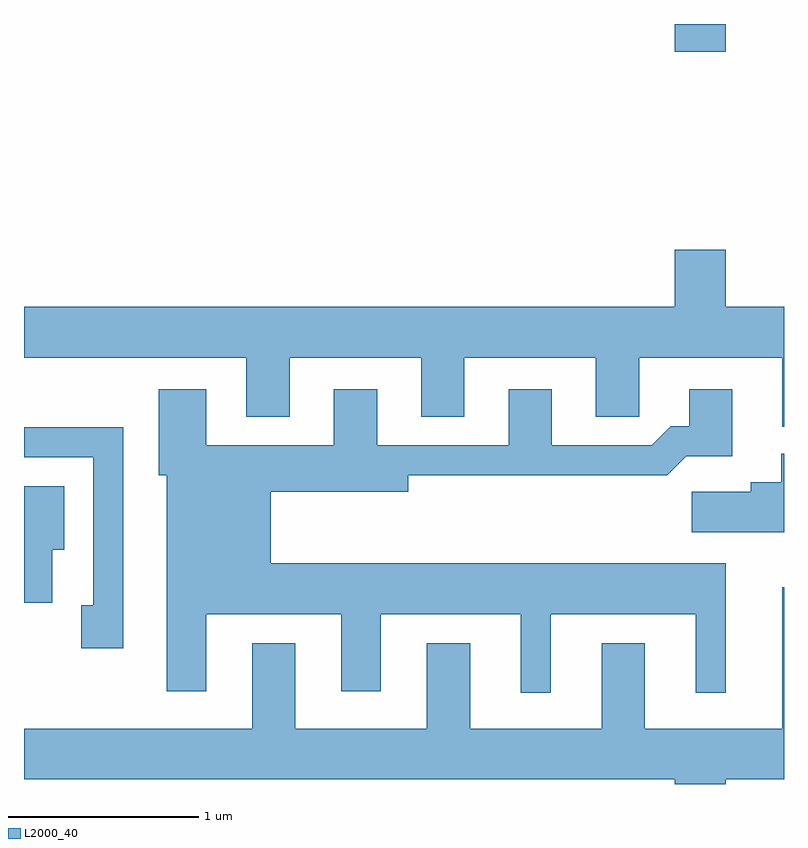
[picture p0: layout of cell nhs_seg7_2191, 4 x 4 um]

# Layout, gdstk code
import gdstk
lib = gdstk.Library(unit=1e-6, precision=1e-09)
def R(c, l, rs):  # rectangles x0, y0, x1, y1
    for r in rs: c.add(gdstk.rectangle(r[:2], r[2:], *l))
def P(c, l, *ps):  # polygons
    for p in ps: c.add(gdstk.Polygon(p, *l))
L2000_40 = (2000, 40)

nhs_seg7_2191 = lib.new_cell('nhs_seg7_2191')
R(nhs_seg7_2191, L2000_40, [(255.036,1758.106,255.304,1758.252)])
P(nhs_seg7_2191, L2000_40, [(255.611,1756.764),(255.304,1756.764),(255.304,1757.064),(255.036,1757.064),(255.036,1756.764),(251.611,1756.764),(251.611,1756.496),(252.781,1756.496),(252.781,1756.186),(253.009,1756.186),(253.009,1756.496),(253.701,1756.496),(253.701,1756.186),(253.929,1756.186),(253.929,1756.496),(254.621,1756.496),(254.621,1756.186),(254.849,1756.186),(254.849,1756.496),(255.601,1756.496),(255.601,1756.133),(255.611,1756.133)],
  [(254.384,1755.146),(255.146,1755.146),(255.146,1754.733),(255.304,1754.733),(255.304,1755.414),(252.909,1755.414),(252.909,1755.791),(253.634,1755.791),(253.634,1755.876),(254.997,1755.876),(255.097,1755.976),(255.339,1755.976),(255.339,1756.329),(255.111,1756.329),(255.111,1756.134),(255.014,1756.134),(254.914,1756.034),(254.389,1756.034),(254.389,1756.329),(254.161,1756.329),(254.161,1756.034),(253.469,1756.034),(253.469,1756.329),(253.241,1756.329),(253.241,1756.034),(252.569,1756.034),(252.569,1756.329),(252.321,1756.329),(252.321,1755.876),(252.361,1755.876),(252.361,1754.741),(252.569,1754.741),(252.569,1755.146),(253.281,1755.146),(253.281,1754.741),(253.489,1754.741),(253.489,1755.146),(254.226,1755.146),(254.226,1754.733),(254.384,1754.733)],
  [(252.134,1756.129),(251.611,1756.129),(251.611,1755.971),(251.976,1755.971),(251.976,1755.194),(251.911,1755.194),(251.911,1754.966),(252.134,1754.966)],
  [(255.611,1755.989),(255.596,1755.989),(255.596,1755.839),(255.436,1755.839),(255.436,1755.789),(255.126,1755.789),(255.126,1755.576),(255.611,1755.576)],
  [(251.759,1755.486),(251.824,1755.486),(251.824,1755.819),(251.611,1755.819),(251.611,1755.206),(251.759,1755.206)],
  [(255.304,1754.276),(255.611,1754.276),(255.611,1755.288),(255.601,1755.288),(255.601,1754.544),(254.879,1754.544),(254.879,1754.994),(254.651,1754.994),(254.651,1754.544),(253.959,1754.544),(253.959,1754.994),(253.731,1754.994),(253.731,1754.544),(253.039,1754.544),(253.039,1754.994),(252.811,1754.994),(252.811,1754.544),(251.611,1754.544),(251.611,1754.276),(255.036,1754.276),(255.036,1754.252),(255.304,1754.252)])

lib.write_gds('nhs_seg7_2191.gds')
